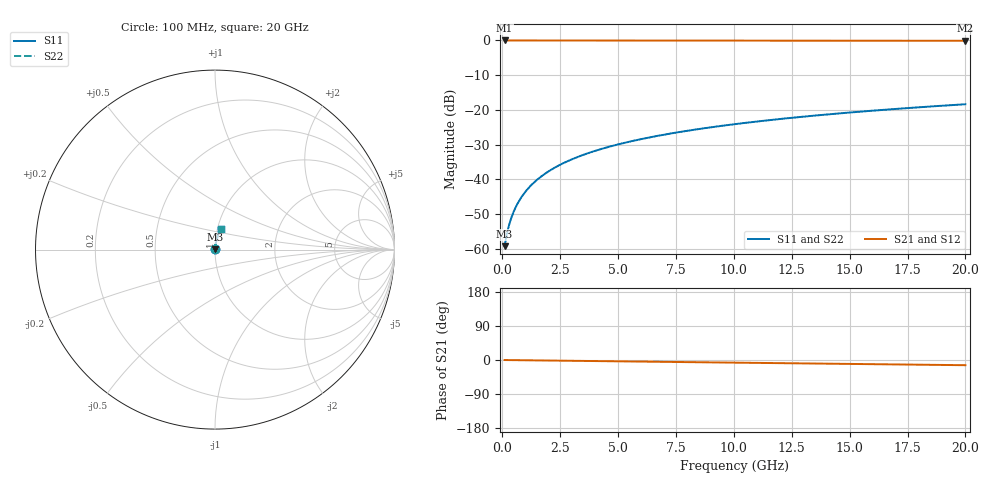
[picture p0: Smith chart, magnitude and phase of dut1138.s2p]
! Touchstone file exported from HFSS 2026.1.0
!  File:  C:/ffzhzh/LocalFiles/Ansys_Project_Files/temp_train_BSMRDL_1138_1783175429_22436.aedt
!  Generated:  10:31:39 PM Jul  4, 2026
!  Design:  BSMRDL
!  Project:  temp_train_BSMRDL_1138_1783175429_22436
! Variables:
!  h_bsmrdl = 4.9um
!  h_ox = 20um
!  h_rdl = 5um
!  h_sub = 80um
!  h_tmrdl = 5um
!  h_tsv = 80um
!  h_via = 3um
!  l_bsmrdl = 185.43um
!  l_sub = 585.43um
!  l_tmrdl = 200um
!  m_sub = 200um
!  pitch = 39.66um
!  r_tsv = 6um
!  s_tmrdl = 10um
!  w_bsmrdl = 20.14um
!  w_sub = 500um
!  w_tmrdl = 12um
!  x_tsv_center1 = 206um
!  x_tsv_center2 = 411.57um
!  x_tsv_center3 = 623.57um
!  x_tsv_center4 = 829.14um
!  x_tsv_center5 = 1041.14um
!  x_tsv_center6 = 1246.71um
# GHz S MA R 50.000000
! Terminal data exported
! Port[1] = BSM_RDL1_1_T1
! Port[2] = BSM_RDL1_1_T2
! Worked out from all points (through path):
!   200 points, 100 MHz to 20 GHz, reference 50 ohm
!   highest |S21| = -0.01 dB at 100 MHz (marker M1); lowest = -0.1 dB at 20 GHz (marker M2)
!   group delay of S21, straight-line fit = 1.9 ps
!   lowest |S11| = -59.2 dB at 100 MHz (marker M3), VSWR 1.00, Z = 50.1 + j0.0722 ohm
!   |S11| at or under -10 dB: start of sweep to end of sweep
!   |S22| runs from -59.2 to -18.4 dB; largest |S21 - S12| = 4.2e-15
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0.1  0.001093 41.2  0.9992 -0.1  0.9992 -0.1  0.001093 41.2
! Gamma 0 0 0 0
! Port Impedance 50 0 50 0
0.2  0.001653 58.0  0.9991 -0.1  0.9991 -0.1  0.001653 58.0
0.3  0.002253 65.8  0.9991 -0.2  0.9991 -0.2  0.002253 65.8
0.4  0.002864 70.4  0.999 -0.3  0.999 -0.3  0.002864 70.4
0.5  0.003483 73.5  0.999 -0.4  0.999 -0.4  0.003483 73.5
0.6  0.004109 75.7  0.999 -0.4  0.999 -0.4  0.004109 75.7
0.8  0.005374 78.5  0.999 -0.6  0.999 -0.6  0.005374 78.5
1.1  0.007291 80.8  0.9989 -0.8  0.9989 -0.8  0.007291 80.8
1.5  0.009857 82.3  0.9988 -1.1  0.9988 -1.1  0.009857 82.3
1.8  0.01178 82.9  0.9987 -1.3  0.9987 -1.3  0.01178 82.9
2.1  0.0137 83.2  0.9986 -1.5  0.9986 -1.5  0.0137 83.2
2.7  0.01752 83.5  0.9984 -1.9  0.9984 -1.9  0.01752 83.5
3.5  0.02256 83.4  0.9981 -2.5  0.9981 -2.5  0.02256 83.4
4.2  0.02693 83.2  0.9978 -3.0  0.9978 -3.0  0.02693 83.2
5  0.03187 82.8  0.9975 -3.5  0.9975 -3.5  0.03187 82.8
5.9  0.03739 82.4  0.997 -4.1  0.997 -4.1  0.03739 82.4
6.8  0.04286 81.9  0.9966 -4.8  0.9966 -4.8  0.04286 81.9
8.3  0.05192 81.1  0.9959 -5.8  0.9959 -5.8  0.05192 81.1
10.1  0.06271 80.1  0.9949 -7.0  0.9949 -7.0  0.06271 80.1
13.4  0.08228 78.2  0.993 -9.3  0.993 -9.3  0.08228 78.2
16.7  0.1016 76.2  0.9908 -11.5  0.9908 -11.5  0.1016 76.2
20  0.1206 74.2  0.9883 -13.7  0.9883 -13.7  0.1206 74.2
